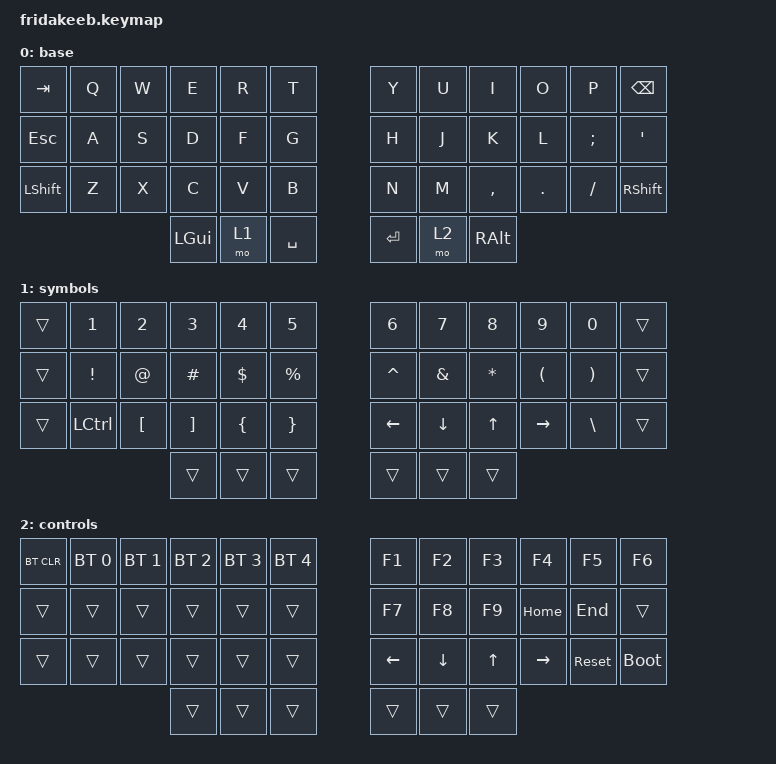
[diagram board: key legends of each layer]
#include <behaviors.dtsi>
#include <dt-bindings/zmk/keys.h>
#include <dt-bindings/zmk/bt.h>

/ {
    keymap {
        compatible = "zmk,keymap";
        base {
            bindings = <
                &kp TAB   &kp Q &kp W &kp E &kp R &kp T   &kp Y &kp U &kp I &kp O &kp P    &kp BSPC
                &kp ESC   &kp A &kp S &kp D &kp F &kp G   &kp H &kp J &kp K &kp L &kp SEMI &kp SQT
                &kp LSHFT &kp Z &kp X &kp C &kp V &kp B   &kp N &kp M &kp COMMA &kp DOT &kp FSLH &kp RSHFT
                                        &kp LGUI &mo 1 &kp SPACE &kp ENTER &mo 2 &kp RALT
            >;
        };
        symbols {
            bindings = <
                &trans &kp N1 &kp N2 &kp N3 &kp N4 &kp N5 &kp N6 &kp N7 &kp N8 &kp N9 &kp N0 &trans
                &trans &kp EXCL &kp AT &kp HASH &kp DLLR &kp PRCNT &kp CARET &kp AMPS &kp STAR &kp LPAR &kp RPAR &trans
                &trans &kp LCTRL &kp LBKT &kp RBKT &kp LBRC &kp RBRC &kp LEFT &kp DOWN &kp UP &kp RIGHT &kp BSLH &trans
                                              &trans &trans &trans &trans &trans &trans
            >;
        };
        controls {
            bindings = <
                &bt BT_CLR &bt BT_SEL 0 &bt BT_SEL 1 &bt BT_SEL 2 &bt BT_SEL 3 &bt BT_SEL 4 &kp F1 &kp F2 &kp F3 &kp F4 &kp F5 &kp F6
                &trans &trans &trans &trans &trans &trans &kp F7 &kp F8 &kp F9 &kp HOME &kp END &trans
                &trans &trans &trans &trans &trans &trans &kp LEFT &kp DOWN &kp UP &kp RIGHT &sys_reset &bootloader
                                                        &trans &trans &trans &trans &trans &trans
            >;
        };
    };
};
